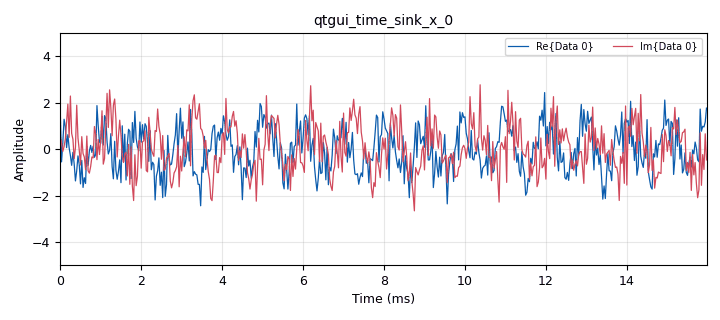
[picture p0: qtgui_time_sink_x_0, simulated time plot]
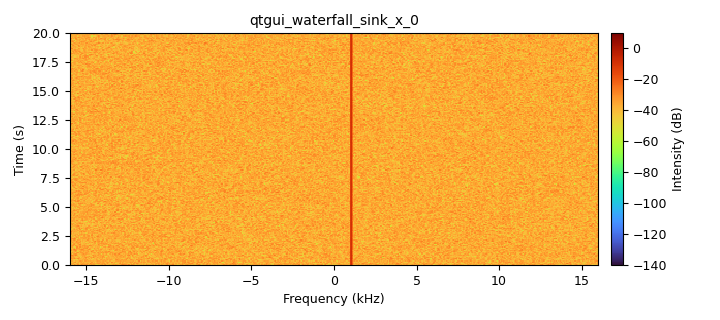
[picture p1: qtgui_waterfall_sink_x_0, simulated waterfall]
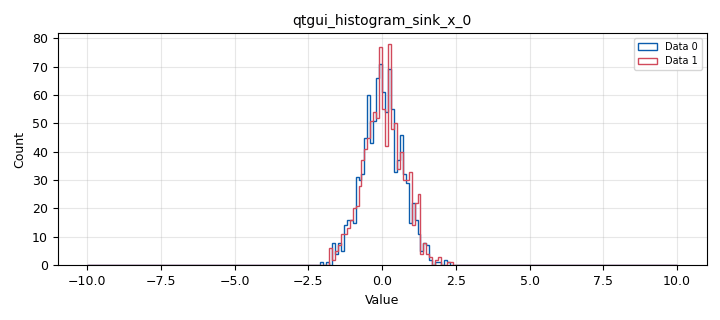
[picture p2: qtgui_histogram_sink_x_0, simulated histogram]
<?xml version='1.0' encoding='utf-8'?>
<?grc format='1' created='3.7.7'?>
<flow_graph>
<block>
<key>analog_noise_source_x</key>
<param><key>id</key><value>analog_noise_source_x_0</value></param>
<param><key>type</key><value>complex</value></param>
<param><key>noise_type</key><value>ntype</value></param>
<param><key>amp</key><value>amp</value></param>
<param><key>seed</key><value>0</value></param>
</block>
<block>
<key>variable</key>
<param><key>id</key><value>samp_rate</value></param>
<param><key>value</key><value>32000</value></param>
</block>
<block>
<key>blocks_add_xx</key>
<param><key>id</key><value>blocks_add_xx_0</value></param>
<param><key>type</key><value>complex</value></param>
</block>
<block>
<key>analog_fastnoise_source_x</key>
<param><key>id</key><value>analog_fastnoise_source_x_0</value></param>
<param><key>type</key><value>complex</value></param>
<param><key>noise_type</key><value>ntype</value></param>
<param><key>amp</key><value>amp</value></param>
<param><key>seed</key><value>0</value></param>
<param><key>samples</key><value>8192</value></param>
</block>
<block>
<key>analog_sig_source_x</key>
<param><key>id</key><value>analog_sig_source_x_0</value></param>
<param><key>type</key><value>complex</value></param>
<param><key>samp_rate</key><value>samp_rate</value></param>
<param><key>waveform</key><value>analog.GR_COS_WAVE</value></param>
<param><key>freq</key><value>1000</value></param>
<param><key>amp</key><value>1</value></param>
<param><key>offset</key><value>0</value></param>
</block>
<block>
<key>blocks_complex_to_real</key>
<param><key>id</key><value>blocks_complex_to_real_0</value></param>
</block>
<block>
<key>blocks_complex_to_real</key>
<param><key>id</key><value>blocks_complex_to_real_0_0</value></param>
</block>
<block>
<key>qtgui_time_sink_x</key>
<param><key>id</key><value>qtgui_time_sink_x_0</value></param>
<param><key>type</key><value>complex</value></param>
<param><key>name</key><value></value></param>
<param><key>size</key><value>512</value></param>
<param><key>srate</key><value>samp_rate</value></param>
<param><key>ymin</key><value>-5</value></param>
<param><key>ymax</key><value>5</value></param>
<param><key>gui_hint</key><value>1,0,1,1</value></param>
<param><key>label1</key><value></value></param>
<param><key>color1</key><value>"blue"</value></param>
<param><key>label2</key><value></value></param>
<param><key>color2</key><value>"red"</value></param>
</block>
<block>
<key>qtgui_waterfall_sink_x</key>
<param><key>id</key><value>qtgui_waterfall_sink_x_0</value></param>
<param><key>type</key><value>complex</value></param>
<param><key>name</key><value></value></param>
<param><key>fftsize</key><value>1024</value></param>
<param><key>wintype</key><value>firdes.WIN_BLACKMAN_hARRIS</value></param>
<param><key>fc</key><value>0</value></param>
<param><key>bw</key><value>samp_rate</value></param>
<param><key>gui_hint</key><value>1,1,1,1</value></param>
<param><key>showports</key><value>True</value></param>
<param><key>color1</key><value>6</value></param>
</block>
<block>
<key>blocks_throttle</key>
<param><key>id</key><value>blocks_throttle_0</value></param>
<param><key>type</key><value>complex</value></param>
<param><key>samples_per_second</key><value>samp_rate</value></param>
</block>
<block>
<key>options</key>
<param><key>id</key><value>analog_noise_source</value></param>
<param><key>generate_options</key><value>qt_gui</value></param>
<param><key>category</key><value>Custom</value></param>
<param><key>run_options</key><value>run</value></param>
</block>
<block>
<key>variable_qtgui_chooser</key>
<param><key>id</key><value>ntype</value></param>
<param><key>label</key><value>Noise Type</value></param>
<param><key>type</key><value>int</value></param>
<param><key>num_opts</key><value>4</value></param>
<param><key>value</key><value>analog.GR_GAUSSIAN</value></param>
<param><key>option0</key><value>analog.GR_GAUSSIAN</value></param>
<param><key>label0</key><value>Gaussian</value></param>
<param><key>option1</key><value>analog.GR_UNIFORM</value></param>
<param><key>label1</key><value>Uniform</value></param>
<param><key>option2</key><value>analog.GR_LAPLACIAN</value></param>
<param><key>label2</key><value>Laplacian</value></param>
<param><key>option3</key><value>analog.GR_IMPULSE</value></param>
<param><key>label3</key><value>Impulse</value></param>
</block>
<block>
<key>variable_qtgui_range</key>
<param><key>id</key><value>amp</value></param>
<param><key>label</key><value>Noise Amplitude</value></param>
<param><key>value</key><value>1</value></param>
<param><key>start</key><value>0</value></param>
<param><key>stop</key><value>2</value></param>
<param><key>step</key><value>0.1</value></param>
<param><key>orient</key><value>Qt.Horizontal</value></param>
</block>
<block>
<key>qtgui_histogram_sink_x</key>
<param><key>id</key><value>qtgui_histogram_sink_x_0</value></param>
<param><key>name</key><value></value></param>
<param><key>size</key><value>1024</value></param>
<param><key>bins</key><value>200</value></param>
<param><key>accum</key><value>True</value></param>
<param><key>xmin</key><value>-10</value></param>
<param><key>xmax</key><value>10</value></param>
<param><key>nconnections</key><value>2</value></param>
<param><key>alpha1</key><value>0.75</value></param>
<param><key>alpha2</key><value>0.5</value></param>
</block>
<connection><source_block_id>analog_fastnoise_source_x_0</source_block_id><sink_block_id>blocks_add_xx_0</sink_block_id><source_key>0</source_key><sink_key>1</sink_key></connection>
<connection><source_block_id>blocks_throttle_0</source_block_id><sink_block_id>blocks_add_xx_0</sink_block_id><source_key>0</source_key><sink_key>0</sink_key></connection>
<connection><source_block_id>blocks_add_xx_0</source_block_id><sink_block_id>qtgui_time_sink_x_0</sink_block_id><source_key>0</source_key><sink_key>0</sink_key></connection>
<connection><source_block_id>analog_sig_source_x_0</source_block_id><sink_block_id>blocks_throttle_0</sink_block_id><source_key>0</source_key><sink_key>0</sink_key></connection>
<connection><source_block_id>blocks_add_xx_0</source_block_id><sink_block_id>qtgui_waterfall_sink_x_0</sink_block_id><source_key>0</source_key><sink_key>0</sink_key></connection>
<connection><source_block_id>blocks_complex_to_real_0</source_block_id><sink_block_id>qtgui_histogram_sink_x_0</sink_block_id><source_key>0</source_key><sink_key>0</sink_key></connection>
<connection><source_block_id>blocks_complex_to_real_0_0</source_block_id><sink_block_id>qtgui_histogram_sink_x_0</sink_block_id><source_key>0</source_key><sink_key>1</sink_key></connection>
<connection><source_block_id>analog_noise_source_x_0</source_block_id><sink_block_id>blocks_complex_to_real_0_0</sink_block_id><source_key>0</source_key><sink_key>0</sink_key></connection>
<connection><source_block_id>analog_fastnoise_source_x_0</source_block_id><sink_block_id>blocks_complex_to_real_0</sink_block_id><source_key>0</source_key><sink_key>0</sink_key></connection>
</flow_graph>
